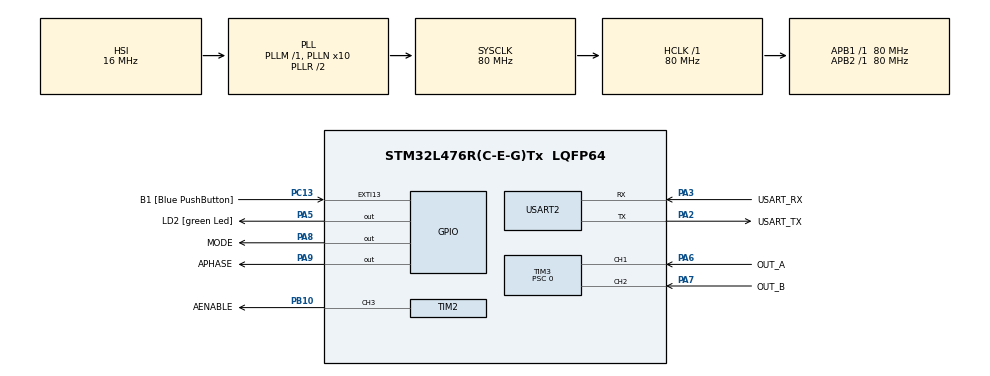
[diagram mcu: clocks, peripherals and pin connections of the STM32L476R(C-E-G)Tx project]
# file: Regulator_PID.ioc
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Mcu.Family=STM32L4
Mcu.Name=STM32L476R(C-E-G)Tx
Mcu.Package=LQFP64
NVIC.PriorityGroup=NVIC_PRIORITYGROUP_4
NVIC.TIM3_IRQn=true\:0\:0\:false\:false\:true\:true\:true
NVIC.TIM6_DAC_IRQn=true\:0\:0\:false\:false\:true\:true\:true
PA13\ (JTMS-SWDIO).GPIO_Label=TMS
PA13\ (JTMS-SWDIO).Mode=Serial_Wire
PA13\ (JTMS-SWDIO).Signal=SYS_JTMS-SWDIO
PA14\ (JTCK-SWCLK).GPIO_Label=TCK
PA14\ (JTCK-SWCLK).Mode=Serial_Wire
PA14\ (JTCK-SWCLK).Signal=SYS_JTCK-SWCLK
PA2.GPIO_Label=USART_TX
PA2.GPIO_Mode=GPIO_MODE_AF_PP
PA2.GPIO_PuPd=GPIO_NOPULL
PA2.GPIO_Speed=GPIO_SPEED_FREQ_VERY_HIGH
PA2.Mode=Asynchronous
PA2.Signal=USART2_TX
PA3.GPIO_Label=USART_RX
PA3.GPIO_Mode=GPIO_MODE_AF_PP
PA3.GPIO_PuPd=GPIO_NOPULL
PA3.GPIO_Speed=GPIO_SPEED_FREQ_VERY_HIGH
PA3.Mode=Asynchronous
PA3.Signal=USART2_RX
PA5.GPIO_Label=LD2 [green Led]
PA5.GPIO_ModeDefaultOutputPP=GPIO_MODE_OUTPUT_PP
PA5.GPIO_PuPd=GPIO_NOPULL
PA5.GPIO_Speed=GPIO_SPEED_FREQ_LOW
PA5.Signal=GPIO_Output
PA6.GPIO_Label=OUT_A
PA6.Signal=S_TIM3_CH1
PA7.GPIO_Label=OUT_B
PA7.Signal=S_TIM3_CH2
PA8.GPIO_Label=MODE
PA8.Signal=GPIO_Output
PA9.GPIO_Label=APHASE
PA9.Signal=GPIO_Output
PB10.GPIO_Label=AENABLE
PB10.Signal=S_TIM2_CH3
PB3\ (JTDO-TRACESWO).GPIO_Label=SWO
PB3\ (JTDO-TRACESWO).Signal=SYS_JTDO-SWO
PC13.GPIO_Label=B1 [Blue PushButton]
PC13.GPIO_ModeDefaultEXTI=GPIO_MODE_IT_FALLING
PC13.GPIO_PuPd=GPIO_NOPULL
PC13.Signal=GPXTI13
PC14-OSC32_IN\ (PC14).Mode=LSE-External-Oscillator
PC14-OSC32_IN\ (PC14).Signal=RCC_OSC32_IN
PC15-OSC32_OUT\ (PC15).Mode=LSE-External-Oscillator
PC15-OSC32_OUT\ (PC15).Signal=RCC_OSC32_OUT
PH0-OSC_IN\ (PH0).Signal=RCC_OSC_IN
PH1-OSC_OUT\ (PH1).Signal=RCC_OSC_OUT
ProjectManager.HeapSize=0x200
ProjectManager.StackSize=0x400
ProjectManager.TargetToolchain=STM32CubeIDE
RCC.ADCFreq_Value=64000000
RCC.AHBFreq_Value=80000000
RCC.APB1Freq_Value=80000000
RCC.APB1TimFreq_Value=80000000
RCC.APB2Freq_Value=80000000
RCC.APB2TimFreq_Value=80000000
RCC.CortexFreq_Value=80000000
RCC.HCLKFreq_Value=80000000
RCC.HSE_VALUE=8000000
RCC.HSI_VALUE=16000000
RCC.MSI_VALUE=4000000
RCC.PLLN=10
RCC.PLLSourceVirtual=RCC_PLLSOURCE_HSI
RCC.PREFETCH_ENABLE=1
RCC.SYSCLKFreq_VALUE=80000000
RCC.SYSCLKSource=RCC_SYSCLKSOURCE_PLLCLK
RCC.USBFreq_Value=64000000
RCC.VCOOutputFreq_Value=160000000
SH.S_TIM2_CH3.0=TIM2_CH3,PWM Generation3 CH3
SH.S_TIM3_CH1.0=TIM3_CH1,Encoder_Interface
SH.S_TIM3_CH2.0=TIM3_CH2,Encoder_Interface
TIM2.Channel-PWM\ Generation3\ CH3=TIM_CHANNEL_3
TIM2.Period=1000-1
TIM2.Prescaler=4-1
TIM3.EncoderMode=TIM_ENCODERMODE_TI12
TIM3.IC1Filter=15
TIM3.IC1Polarity=TIM_ICPOLARITY_RISING
TIM3.IC2Filter=15
TIM3.Period=65535
TIM3.Prescaler=0
TIM6.Period=1000-1
TIM6.Prescaler=8000-1
USART2.VirtualMode-Asynchronous=VM_ASYNC
VP_TIM6_VS_ClockSourceINT.Mode=Enable_Timer
board=NUCLEO-L476RG

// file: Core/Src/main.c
/* USER CODE BEGIN Header */
/**
  ******************************************************************************
  * @file           : main.c
  * @brief          : Main program body
  ******************************************************************************
  * @attention
  *
  * <h2><center>&copy; Copyright (c) 2021 STMicroelectronics.
  * All rights reserved.</center></h2>
  *
  * This software component is licensed by ST under BSD 3-Clause license,
  * the "License"; You may not use this file except in compliance with the
  * License. You may obtain a copy of the License at:
  *                        opensource.org/licenses/BSD-3-Clause
  *
  ******************************************************************************
  */
/* USER CODE END Header */
#include "main.h"

TIM_HandleTypeDef htim2;
TIM_HandleTypeDef htim3;
TIM_HandleTypeDef htim6;

UART_HandleTypeDef huart2;

void SystemClock_Config(void);
static void MX_GPIO_Init(void);
static void MX_USART2_UART_Init(void);
static void MX_TIM3_Init(void);
static void MX_TIM2_Init(void);
static void MX_TIM6_Init(void);

/* USER CODE BEGIN 0 */
motor_str motorA;
/* USER CODE END 0 */

int main(void)
{

  /* MCU Configuration--------------------------------------------------------*/

  /* Reset of all peripherals, Initializes the Flash interface and the Systick. */
  HAL_Init();

  /* Configure the system clock */
  SystemClock_Config();

  /* Initialize all configured peripherals */
  MX_GPIO_Init();
  MX_USART2_UART_Init();
  MX_TIM3_Init();
  MX_TIM2_Init();
  MX_TIM6_Init();
  /* USER CODE BEGIN 2 */
  drv8835_init();
  motor_str_init(&motorA, &htim3);
  pid_init(&(motorA.pid_controller), MOTOR_A_Kp, MOTOR_A_Ki, MOTOR_A_Kd, MOTOR_A_ANTI_WINDUP);

  HAL_TIM_Encoder_Start(&htim3, TIM_CHANNEL_ALL);
  HAL_TIM_Base_Start_IT(&htim6);

  int speed_table[] = {50, 100, -100, 10};

  int i = 0;
  uint32_t time_tick = HAL_GetTick();
  uint32_t max_time = 5000;

  /* USER CODE END 2 */

  /* Infinite loop */
  /* USER CODE BEGIN WHILE */
  while (1)
  {
	  if((HAL_GetTick() - time_tick) > max_time)
	  {
		  time_tick = HAL_GetTick();

		  motor_set_speed(&motorA, speed_table[i++]);

		  if(i >= 4)
			  i = 0;
	  }

    /* USER CODE END WHILE */

  }
}

void SystemClock_Config(void)
{
  RCC_OscInitTypeDef RCC_OscInitStruct = {0};
  RCC_ClkInitTypeDef RCC_ClkInitStruct = {0};
  RCC_PeriphCLKInitTypeDef PeriphClkInit = {0};

  /** Initializes the RCC Oscillators according to the specified parameters
  * in the RCC_OscInitTypeDef structure.
  */
  RCC_OscInitStruct.OscillatorType = RCC_OSCILLATORTYPE_HSI;
  RCC_OscInitStruct.HSIState = RCC_HSI_ON;
  RCC_OscInitStruct.HSICalibrationValue = RCC_HSICALIBRATION_DEFAULT;
  RCC_OscInitStruct.PLL.PLLState = RCC_PLL_ON;
  RCC_OscInitStruct.PLL.PLLSource = RCC_PLLSOURCE_HSI;
  RCC_OscInitStruct.PLL.PLLM = 1;
  RCC_OscInitStruct.PLL.PLLN = 10;
  RCC_OscInitStruct.PLL.PLLP = RCC_PLLP_DIV7;
  RCC_OscInitStruct.PLL.PLLQ = RCC_PLLQ_DIV2;
  RCC_OscInitStruct.PLL.PLLR = RCC_PLLR_DIV2;
  if (HAL_RCC_OscConfig(&RCC_OscInitStruct) != HAL_OK)
  {
    Error_Handler();
  }
  /** Initializes the CPU, AHB and APB buses clocks
  */
  RCC_ClkInitStruct.ClockType = RCC_CLOCKTYPE_HCLK|RCC_CLOCKTYPE_SYSCLK
                              |RCC_CLOCKTYPE_PCLK1|RCC_CLOCKTYPE_PCLK2;
  RCC_ClkInitStruct.SYSCLKSource = RCC_SYSCLKSOURCE_PLLCLK;
  RCC_ClkInitStruct.AHBCLKDivider = RCC_SYSCLK_DIV1;
  RCC_ClkInitStruct.APB1CLKDivider = RCC_HCLK_DIV1;
  RCC_ClkInitStruct.APB2CLKDivider = RCC_HCLK_DIV1;

  if (HAL_RCC_ClockConfig(&RCC_ClkInitStruct, FLASH_LATENCY_4) != HAL_OK)
  {
    Error_Handler();
  }
  PeriphClkInit.PeriphClockSelection = RCC_PERIPHCLK_USART2;
  PeriphClkInit.Usart2ClockSelection = RCC_USART2CLKSOURCE_PCLK1;
  if (HAL_RCCEx_PeriphCLKConfig(&PeriphClkInit) != HAL_OK)
  {
    Error_Handler();
  }
  /** Configure the main internal regulator output voltage
  */
  if (HAL_PWREx_ControlVoltageScaling(PWR_REGULATOR_VOLTAGE_SCALE1) != HAL_OK)
  {
    Error_Handler();
  }
}

static void MX_TIM2_Init(void)
{

  TIM_MasterConfigTypeDef sMasterConfig = {0};
  TIM_OC_InitTypeDef sConfigOC = {0};

  htim2.Instance = TIM2;
  htim2.Init.Prescaler = 4-1;
  htim2.Init.CounterMode = TIM_COUNTERMODE_UP;
  htim2.Init.Period = 1000-1;
  htim2.Init.ClockDivision = TIM_CLOCKDIVISION_DIV1;
  htim2.Init.AutoReloadPreload = TIM_AUTORELOAD_PRELOAD_DISABLE;
  if (HAL_TIM_PWM_Init(&htim2) != HAL_OK)
  {
    Error_Handler();
  }
  sMasterConfig.MasterOutputTrigger = TIM_TRGO_RESET;
  sMasterConfig.MasterSlaveMode = TIM_MASTERSLAVEMODE_DISABLE;
  if (HAL_TIMEx_MasterConfigSynchronization(&htim2, &sMasterConfig) != HAL_OK)
  {
    Error_Handler();
  }
  sConfigOC.OCMode = TIM_OCMODE_PWM1;
  sConfigOC.Pulse = 0;
  sConfigOC.OCPolarity = TIM_OCPOLARITY_HIGH;
  sConfigOC.OCFastMode = TIM_OCFAST_DISABLE;
  if (HAL_TIM_PWM_ConfigChannel(&htim2, &sConfigOC, TIM_CHANNEL_3) != HAL_OK)
  {
    Error_Handler();
  }
  HAL_TIM_MspPostInit(&htim2);

}

static void MX_TIM3_Init(void)
{

  TIM_Encoder_InitTypeDef sConfig = {0};
  TIM_MasterConfigTypeDef sMasterConfig = {0};

  htim3.Instance = TIM3;
  htim3.Init.Prescaler = 0;
  htim3.Init.CounterMode = TIM_COUNTERMODE_UP;
  htim3.Init.Period = 65535;
  htim3.Init.ClockDivision = TIM_CLOCKDIVISION_DIV1;
  htim3.Init.AutoReloadPreload = TIM_AUTORELOAD_PRELOAD_DISABLE;
  sConfig.EncoderMode = TIM_ENCODERMODE_TI12;
  sConfig.IC1Polarity = TIM_ICPOLARITY_RISING;
  sConfig.IC1Selection = TIM_ICSELECTION_DIRECTTI;
  sConfig.IC1Prescaler = TIM_ICPSC_DIV1;
  sConfig.IC1Filter = 15;
  sConfig.IC2Polarity = TIM_ICPOLARITY_RISING;
  sConfig.IC2Selection = TIM_ICSELECTION_DIRECTTI;
  sConfig.IC2Prescaler = TIM_ICPSC_DIV1;
  sConfig.IC2Filter = 15;
  if (HAL_TIM_Encoder_Init(&htim3, &sConfig) != HAL_OK)
  {
    Error_Handler();
  }
  sMasterConfig.MasterOutputTrigger = TIM_TRGO_RESET;
  sMasterConfig.MasterSlaveMode = TIM_MASTERSLAVEMODE_DISABLE;
  if (HAL_TIMEx_MasterConfigSynchronization(&htim3, &sMasterConfig) != HAL_OK)
  {
    Error_Handler();
  }

}

static void MX_TIM6_Init(void)
{

  TIM_MasterConfigTypeDef sMasterConfig = {0};

  htim6.Instance = TIM6;
  htim6.Init.Prescaler = 8000-1;
  htim6.Init.CounterMode = TIM_COUNTERMODE_UP;
  htim6.Init.Period = 500-1;
  htim6.Init.AutoReloadPreload = TIM_AUTORELOAD_PRELOAD_DISABLE;
  if (HAL_TIM_Base_Init(&htim6) != HAL_OK)
  {
    Error_Handler();
  }
  sMasterConfig.MasterOutputTrigger = TIM_TRGO_RESET;
  sMasterConfig.MasterSlaveMode = TIM_MASTERSLAVEMODE_DISABLE;
  if (HAL_TIMEx_MasterConfigSynchronization(&htim6, &sMasterConfig) != HAL_OK)
  {
    Error_Handler();
  }

}

static void MX_USART2_UART_Init(void)
{

  huart2.Instance = USART2;
  huart2.Init.BaudRate = 115200;
  huart2.Init.WordLength = UART_WORDLENGTH_8B;
  huart2.Init.StopBits = UART_STOPBITS_1;
  huart2.Init.Parity = UART_PARITY_NONE;
  huart2.Init.Mode = UART_MODE_TX_RX;
  huart2.Init.HwFlowCtl = UART_HWCONTROL_NONE;
  huart2.Init.OverSampling = UART_OVERSAMPLING_16;
  huart2.Init.OneBitSampling = UART_ONE_BIT_SAMPLE_DISABLE;
  huart2.AdvancedInit.AdvFeatureInit = UART_ADVFEATURE_NO_INIT;
  if (HAL_UART_Init(&huart2) != HAL_OK)
  {
    Error_Handler();
  }

}

static void MX_GPIO_Init(void)
{
  GPIO_InitTypeDef GPIO_InitStruct = {0};

  /* GPIO Ports Clock Enable */
  __HAL_RCC_GPIOC_CLK_ENABLE();
  __HAL_RCC_GPIOH_CLK_ENABLE();
  __HAL_RCC_GPIOA_CLK_ENABLE();
  __HAL_RCC_GPIOB_CLK_ENABLE();

  /*Configure GPIO pin Output Level */
  HAL_GPIO_WritePin(GPIOA, LD2_Pin|MODE_Pin|APHASE_Pin, GPIO_PIN_RESET);

  /*Configure GPIO pin : B1_Pin */
  GPIO_InitStruct.Pin = B1_Pin;
  GPIO_InitStruct.Mode = GPIO_MODE_IT_FALLING;
  GPIO_InitStruct.Pull = GPIO_NOPULL;
  HAL_GPIO_Init(B1_GPIO_Port, &GPIO_InitStruct);

  /*Configure GPIO pins : LD2_Pin MODE_Pin APHASE_Pin */
  GPIO_InitStruct.Pin = LD2_Pin|MODE_Pin|APHASE_Pin;
  GPIO_InitStruct.Mode = GPIO_MODE_OUTPUT_PP;
  GPIO_InitStruct.Pull = GPIO_NOPULL;
  GPIO_InitStruct.Speed = GPIO_SPEED_FREQ_LOW;
  HAL_GPIO_Init(GPIOA, &GPIO_InitStruct);

}

/* USER CODE BEGIN 4 */
void HAL_TIM_PeriodElapsedCallback(TIM_HandleTypeDef *htim)
{
	if(htim->Instance == TIM6)
	{
		motor_calculate_speed(&motorA);
	}
}
/* USER CODE END 4 */

void Error_Handler(void)
{
}

/************************ (C) COPYRIGHT STMicroelectronics *****END OF FILE****/
